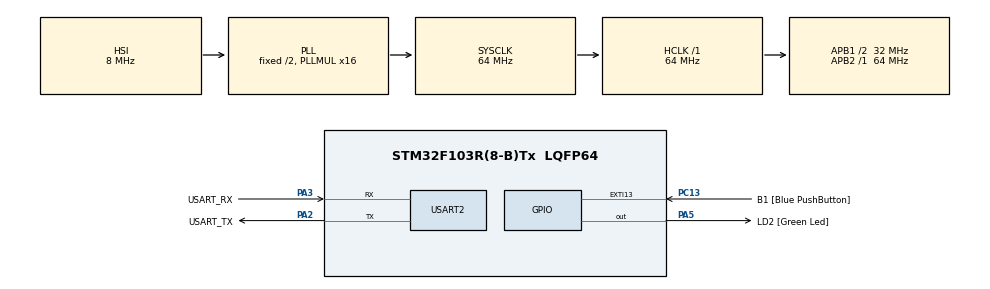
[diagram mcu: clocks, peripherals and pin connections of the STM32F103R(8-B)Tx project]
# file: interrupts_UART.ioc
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Dma.Request0=USART2_TX
Dma.USART2_TX.0.Direction=DMA_MEMORY_TO_PERIPH
Dma.USART2_TX.0.Instance=DMA1_Channel7
Dma.USART2_TX.0.MemDataAlignment=DMA_MDATAALIGN_BYTE
Dma.USART2_TX.0.MemInc=DMA_MINC_ENABLE
Dma.USART2_TX.0.Mode=DMA_CIRCULAR
Dma.USART2_TX.0.PeriphDataAlignment=DMA_PDATAALIGN_BYTE
Dma.USART2_TX.0.PeriphInc=DMA_PINC_DISABLE
Dma.USART2_TX.0.Priority=DMA_PRIORITY_LOW
Mcu.Family=STM32F1
Mcu.Name=STM32F103R(8-B)Tx
Mcu.Package=LQFP64
NVIC.DMA1_Channel7_IRQn=true\:0\:0\:false\:false\:true\:false\:true\:true
NVIC.EXTI15_10_IRQn=true\:0\:0\:false\:false\:true\:true\:true\:true
NVIC.PriorityGroup=NVIC_PRIORITYGROUP_4
NVIC.USART2_IRQn=true\:0\:0\:false\:false\:true\:true\:true\:true
PA13.GPIO_Label=TMS
PA13.Mode=Serial_Wire
PA13.Signal=SYS_JTMS-SWDIO
PA14.GPIO_Label=TCK
PA14.Mode=Serial_Wire
PA14.Signal=SYS_JTCK-SWCLK
PA2.GPIO_Label=USART_TX
PA2.GPIO_Mode=GPIO_MODE_AF_PP
PA2.GPIO_PuPd=GPIO_NOPULL
PA2.GPIO_Speed=GPIO_SPEED_FREQ_LOW
PA2.Mode=Asynchronous
PA2.Signal=USART2_TX
PA3.GPIO_Label=USART_RX
PA3.GPIO_Mode=GPIO_MODE_AF_PP
PA3.GPIO_PuPd=GPIO_NOPULL
PA3.GPIO_Speed=GPIO_SPEED_FREQ_LOW
PA3.Mode=Asynchronous
PA3.Signal=USART2_RX
PA5.GPIO_Label=LD2 [Green Led]
PA5.GPIO_ModeDefaultOutputPP=GPIO_MODE_OUTPUT_PP
PA5.GPIO_PuPd=GPIO_NOPULL
PA5.GPIO_Speed=GPIO_SPEED_FREQ_LOW
PA5.Signal=GPIO_Output
PB3.GPIO_Label=SWO
PB3.Signal=SYS_JTDO-TRACESWO
PC13-TAMPER-RTC.GPIO_Label=B1 [Blue PushButton]
PC13-TAMPER-RTC.GPIO_PuPd=GPIO_NOPULL
PC13-TAMPER-RTC.Signal=GPXTI13
PC14-OSC32_IN.Mode=LSE-External-Oscillator
PC14-OSC32_IN.Signal=RCC_OSC32_IN
PC15-OSC32_OUT.Mode=LSE-External-Oscillator
PC15-OSC32_OUT.Signal=RCC_OSC32_OUT
PD0-OSC_IN.Mode=HSE-External-Clock-Source
PD0-OSC_IN.Signal=RCC_OSC_IN
PD1-OSC_OUT.Mode=HSE-External-Clock-Source
PD1-OSC_OUT.Signal=RCC_OSC_OUT
ProjectManager.HeapSize=0x200
ProjectManager.StackSize=0x400
ProjectManager.TargetToolchain=STM32CubeIDE
RCC.AHBFreq_Value=64000000
RCC.APB1CLKDivider=RCC_HCLK_DIV2
RCC.APB1Freq_Value=32000000
RCC.APB1TimFreq_Value=64000000
RCC.APB2Freq_Value=64000000
RCC.APB2TimFreq_Value=64000000
RCC.HCLKFreq_Value=64000000
RCC.PLLMUL=RCC_PLL_MUL16
RCC.RTCClockSelection=RCC_RTCCLKSOURCE_LSE
RCC.SYSCLKFreq_VALUE=64000000
RCC.SYSCLKSource=RCC_SYSCLKSOURCE_PLLCLK
RCC.USBFreq_Value=64000000
USART2.VirtualMode=VM_ASYNC
board=NUCLEO-F103RB

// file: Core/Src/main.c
/* USER CODE BEGIN Header */
/**
  ******************************************************************************
  * @file           : main.c
  * @brief          : Main program body
  ******************************************************************************
  * @attention
  *
  * Copyright (c) 2024 STMicroelectronics.
  * All rights reserved.
  *
  * This software is licensed under terms that can be found in the LICENSE file
  * in the root directory of this software component.
  * If no LICENSE file comes with this software, it is provided AS-IS.
  *
  ******************************************************************************
  */
/* USER CODE END Header */
#include "main.h"
#include "dma.h"
#include "usart.h"
#include "gpio.h"

void SystemClock_Config(void);

/* USER CODE BEGIN 0 */
uint8_t tx_data[10240];
int complete = 1;
int indx = 49;

void HAL_UART_TxHalfCpltCallback(UART_HandleTypeDef *huart)
{
    for(uint32_t i = 0; i < 5120; i++)
	  {
		tx_data[i] = indx;
	  }
	  indx++;
}

void HAL_UART_TxCpltCallback(UART_HandleTypeDef *huart)
{
  for(uint32_t i = 5120; i < 10240; i++)
	{
    	tx_data[i] = indx;
	}
    indx++;

	if(indx >= 60)
	{
		HAL_UART_DMAStop(&huart2);
	}
	complete = 1;
}
/* USER CODE END 0 */

int main(void)
{

  /* USER CODE BEGIN 1 */
  // memset(tx_data, 'A', sizeof(tx_data));
  /* USER CODE END 1 */

  /* MCU Configuration--------------------------------------------------------*/

  /* Reset of all peripherals, Initializes the Flash interface and the Systick. */
  HAL_Init();

  /* Configure the system clock */
  SystemClock_Config();

  /* Initialize all configured peripherals */
  MX_GPIO_Init();
  MX_DMA_Init();
  MX_USART2_UART_Init();
  /* USER CODE BEGIN 2 */
  for(uint32_t i = 0; i < 10240; i++)
  {
    tx_data[i] = i&(0xff);
  }

  HAL_UART_Transmit_DMA(&huart2, tx_data, 10240);
  /* USER CODE END 2 */

  /* Infinite loop */
  /* USER CODE BEGIN WHILE */
  while (1)
  {
    /*
    Interrupt Method

    if(complete == 1)
    {
      HAL_UART_Transmit_IT(&huart2, tx_data, 10240);
      complete = 0;
    }
    */

   /*
   if(complete == 1)
    {
      HAL_UART_Transmit_DMA(&huart2, tx_data, 10240);
      complete = 0;
    }
   */

    HAL_GPIO_TogglePin(GPIOA, GPIO_PIN_5);
    HAL_Delay(1000);
    /* USER CODE END WHILE */

  }
}

void SystemClock_Config(void)
{
  RCC_OscInitTypeDef RCC_OscInitStruct = {0};
  RCC_ClkInitTypeDef RCC_ClkInitStruct = {0};

  /** Initializes the RCC Oscillators according to the specified parameters
  * in the RCC_OscInitTypeDef structure.
  */
  RCC_OscInitStruct.OscillatorType = RCC_OSCILLATORTYPE_HSI;
  RCC_OscInitStruct.HSIState = RCC_HSI_ON;
  RCC_OscInitStruct.HSICalibrationValue = RCC_HSICALIBRATION_DEFAULT;
  RCC_OscInitStruct.PLL.PLLState = RCC_PLL_ON;
  RCC_OscInitStruct.PLL.PLLSource = RCC_PLLSOURCE_HSI_DIV2;
  RCC_OscInitStruct.PLL.PLLMUL = RCC_PLL_MUL16;
  if (HAL_RCC_OscConfig(&RCC_OscInitStruct) != HAL_OK)
  {
    Error_Handler();
  }

  /** Initializes the CPU, AHB and APB buses clocks
  */
  RCC_ClkInitStruct.ClockType = RCC_CLOCKTYPE_HCLK|RCC_CLOCKTYPE_SYSCLK
                              |RCC_CLOCKTYPE_PCLK1|RCC_CLOCKTYPE_PCLK2;
  RCC_ClkInitStruct.SYSCLKSource = RCC_SYSCLKSOURCE_PLLCLK;
  RCC_ClkInitStruct.AHBCLKDivider = RCC_SYSCLK_DIV1;
  RCC_ClkInitStruct.APB1CLKDivider = RCC_HCLK_DIV2;
  RCC_ClkInitStruct.APB2CLKDivider = RCC_HCLK_DIV1;

  if (HAL_RCC_ClockConfig(&RCC_ClkInitStruct, FLASH_LATENCY_2) != HAL_OK)
  {
    Error_Handler();
  }
}

void Error_Handler(void)
{
  __disable_irq();
  while (1)
  {
  }
}
